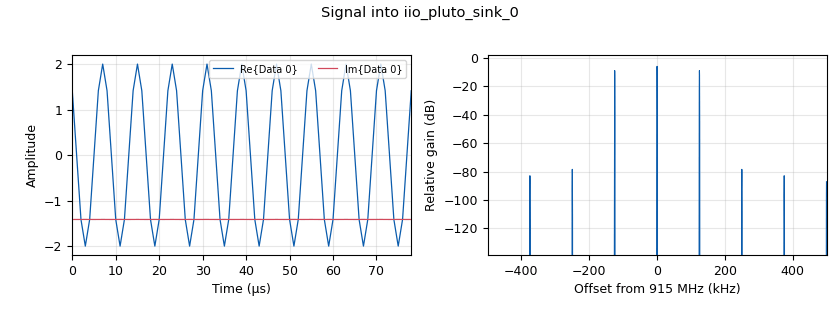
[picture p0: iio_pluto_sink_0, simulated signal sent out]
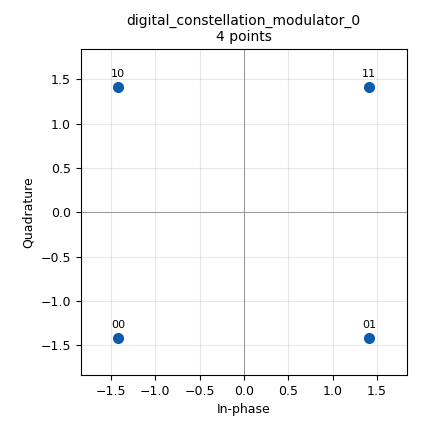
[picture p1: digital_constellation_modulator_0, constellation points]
options:
  parameters:
    generate_options: no_gui
    id: TX_GNU_radio
    output_language: python
    title: Not titled yet
  states: {}

blocks:
- name: samp_rate
  id: variable
  parameters:
    value: '10_000_00'
  states: {}
- name: analog_sig_source_x_0
  id: analog_sig_source_x
  parameters:
    amp: '0x44'
    freq: '1000'
    offset: '0'
    phase: '0'
    samp_rate: samp_rate
    type: byte
    waveform: analog.GR_CONST_WAVE
  states: {}
- name: digital_constellation_modulator_0
  id: digital_constellation_modulator
  parameters:
    constellation: digital.constellation_qpsk().base()
    differential: 'False'
    excess_bw: '0.35'
    samples_per_symbol: '4'
  states: {}
- name: iio_pluto_sink_0
  id: iio_pluto_sink
  parameters:
    attenuation1: '-50'
    bandwidth: '20000000'
    buffer_size: '32768'
    cyclic: 'False'
    filter_source: '''Auto'''
    frequency: '915000000'
    samplerate: samp_rate
    type: fc32
    uri: 192.168.3.1
  states: {}

connections:
- [analog_sig_source_x_0, '0', digital_constellation_modulator_0, '0']
- [digital_constellation_modulator_0, '0', iio_pluto_sink_0, '0']

metadata:
  file_format: 1
  grc_version: 3.10.12.0
